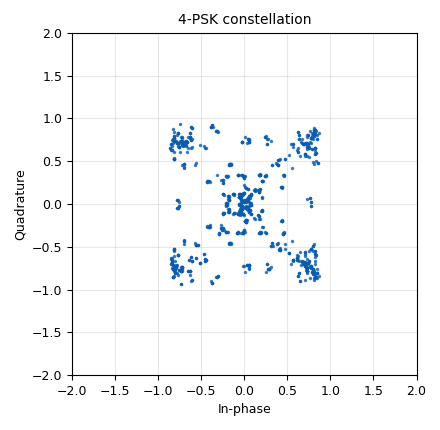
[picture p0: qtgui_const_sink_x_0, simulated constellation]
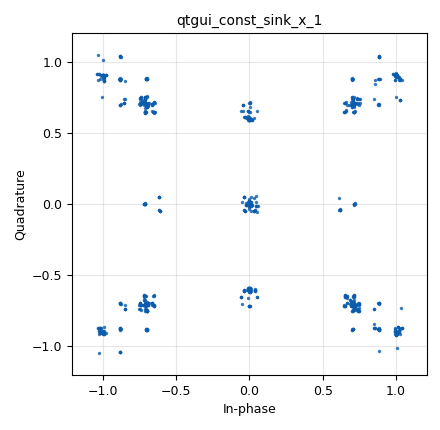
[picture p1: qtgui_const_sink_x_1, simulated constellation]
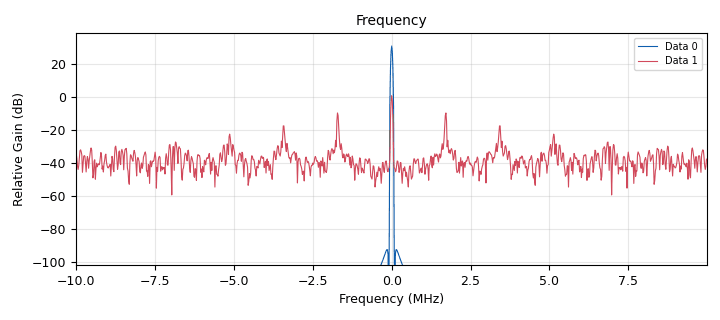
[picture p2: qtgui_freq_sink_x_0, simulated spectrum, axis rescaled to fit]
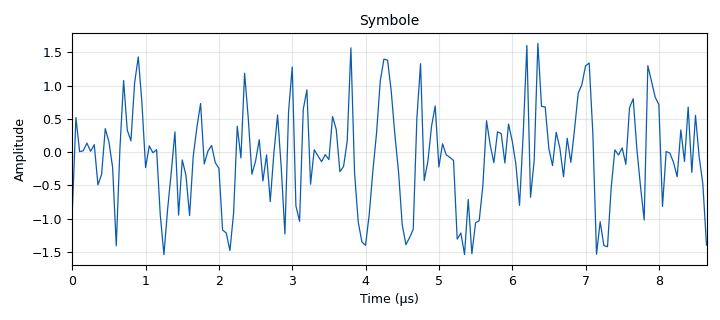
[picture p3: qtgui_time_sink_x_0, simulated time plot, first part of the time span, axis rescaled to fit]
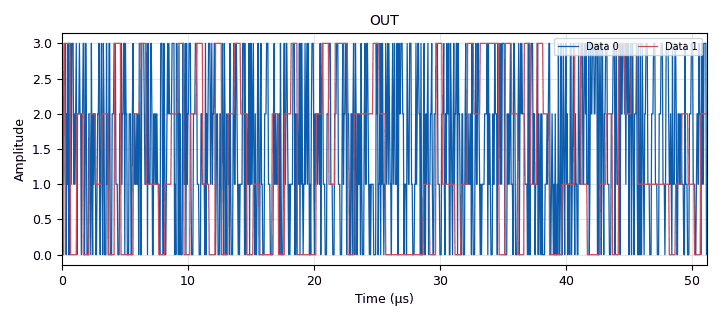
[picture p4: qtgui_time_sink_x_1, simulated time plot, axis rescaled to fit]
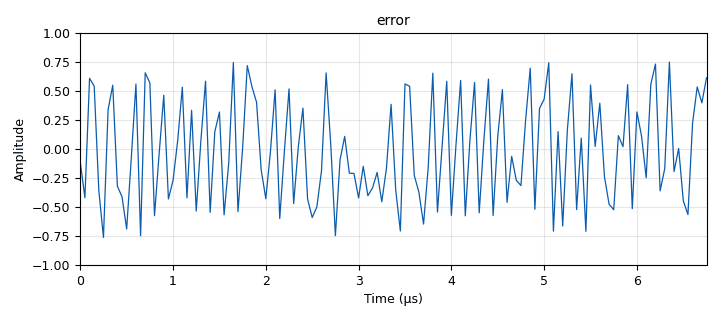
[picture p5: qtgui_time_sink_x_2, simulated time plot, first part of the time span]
<?xml version='1.0' encoding='utf-8'?>
<?grc format='1' created='3.7.13'?>
<flow_graph>
<block>
<key>options</key>
<param><key>id</key><value>top_block</value></param>
<param><key>generate_options</key><value>qt_gui</value></param>
</block>
<block>
<key>variable_qtgui_range</key>
<param><key>id</key><value>Noise</value></param>
<param><key>value</key><value>0.02</value></param>
<param><key>orient</key><value>Qt.Horizontal</value></param>
<param><key>start</key><value>0.01</value></param>
<param><key>step</key><value>0.001</value></param>
<param><key>stop</key><value>0.5</value></param>
</block>
<block>
<key>variable_constellation</key>
<param><key>id</key><value>PSK_4</value></param>
<param><key>type</key><value>qpsk</value></param>
<param><key>precision</key><value>8</value></param>
</block>
<block>
<key>variable_constellation</key>
<param><key>id</key><value>demod</value></param>
<param><key>type</key><value>qpsk</value></param>
<param><key>precision</key><value>8</value></param>
</block>
<block>
<key>variable_qtgui_range</key>
<param><key>id</key><value>epsilon</value></param>
<param><key>value</key><value>1.0001</value></param>
<param><key>orient</key><value>Qt.Horizontal</value></param>
<param><key>start</key><value>1.0001</value></param>
<param><key>step</key><value>0.000001</value></param>
<param><key>stop</key><value>1.005</value></param>
</block>
<block>
<key>variable</key>
<param><key>id</key><value>freq_port</value></param>
<param><key>value</key><value>2e6</value></param>
</block>
<block>
<key>variable</key>
<param><key>id</key><value>nb_period_per_symbol</value></param>
<param><key>value</key><value>1</value></param>
</block>
<block>
<key>variable</key>
<param><key>id</key><value>nb_points_period</value></param>
<param><key>value</key><value>int(samp_rate/freq_port)</value></param>
</block>
<block>
<key>variable</key>
<param><key>id</key><value>samp_rate</value></param>
<param><key>value</key><value>20e6</value></param>
</block>
<block>
<key>variable_qtgui_range</key>
<param><key>id</key><value>sps</value></param>
<param><key>value</key><value>2</value></param>
<param><key>orient</key><value>Qt.Horizontal</value></param>
<param><key>start</key><value>2</value></param>
<param><key>step</key><value>2</value></param>
<param><key>stop</key><value>32</value></param>
</block>
<block>
<key>analog_random_source_x</key>
<param><key>id</key><value>analog_random_source_x_0</value></param>
<param><key>max</key><value>4</value></param>
<param><key>min</key><value>0</value></param>
<param><key>num_samps</key><value>1000</value></param>
<param><key>type</key><value>byte</value></param>
<param><key>repeat</key><value>True</value></param>
</block>
<block>
<key>analog_sig_source_x</key>
<param><key>id</key><value>analog_sig_source_x_0</value></param>
<param><key>amp</key><value>1</value></param>
<param><key>freq</key><value>freq_port</value></param>
<param><key>offset</key><value>0</value></param>
<param><key>type</key><value>float</value></param>
<param><key>samp_rate</key><value>samp_rate</value></param>
<param><key>waveform</key><value>analog.GR_COS_WAVE</value></param>
</block>
<block>
<key>blocks_char_to_float</key>
<param><key>id</key><value>blocks_char_to_float_0</value></param>
<param><key>scale</key><value>1</value></param>
</block>
<block>
<key>blocks_char_to_float</key>
<param><key>id</key><value>blocks_char_to_float_1</value></param>
<param><key>scale</key><value>1</value></param>
</block>
<block>
<key>blocks_complex_to_float</key>
<param><key>id</key><value>blocks_complex_to_float_0</value></param>
</block>
<block>
<key>blocks_float_to_char</key>
<param><key>id</key><value>blocks_float_to_char_0</value></param>
<param><key>scale</key><value>1</value></param>
</block>
<block>
<key>blocks_multiply_xx</key>
<param><key>id</key><value>blocks_multiply_xx_0</value></param>
<param><key>type</key><value>float</value></param>
</block>
<block>
<key>blocks_repeat</key>
<param><key>id</key><value>blocks_repeat_0</value></param>
<param><key>interp</key><value>nb_period_per_symbol*nb_points_period</value></param>
<param><key>type</key><value>float</value></param>
</block>
<block>
<key>blocks_throttle</key>
<param><key>id</key><value>blocks_throttle_0</value></param>
<param><key>samples_per_second</key><value>samp_rate</value></param>
<param><key>type</key><value>byte</value></param>
</block>
<block>
<key>blocks_throttle</key>
<param><key>id</key><value>blocks_throttle_1</value></param>
<param><key>samples_per_second</key><value>samp_rate</value></param>
<param><key>type</key><value>float</value></param>
</block>
<block>
<key>channels_channel_model</key>
<param><key>id</key><value>channels_channel_model_0</value></param>
<param><key>epsilon</key><value>epsilon</value></param>
<param><key>freq_offset</key><value>0.0</value></param>
<param><key>noise_voltage</key><value>Noise</value></param>
<param><key>seed</key><value>0</value></param>
<param><key>taps</key><value>1.0 + 1.0j</value></param>
</block>
<block>
<key>digital_constellation_modulator</key>
<param><key>id</key><value>digital_constellation_modulator_1</value></param>
<param><key>constellation</key><value>PSK_4</value></param>
<param><key>differential</key><value>True</value></param>
<param><key>excess_bw</key><value>0.9</value></param>
<param><key>samples_per_symbol</key><value>sps</value></param>
</block>
<block>
<key>digital_constellation_receiver_cb</key>
<param><key>id</key><value>digital_constellation_receiver_cb_0</value></param>
<param><key>constellation</key><value>demod</value></param>
<param><key>loop_bw</key><value>0.06</value></param>
<param><key>fmax</key><value>100</value></param>
<param><key>fmin</key><value>100</value></param>
<param><key>showports</key><value>True</value></param>
</block>
<block>
<key>qtgui_const_sink_x</key>
<param><key>id</key><value>qtgui_const_sink_x_0</value></param>
<param><key>name</key><value>4-PSK constellation</value></param>
<param><key>size</key><value>1024</value></param>
<param><key>type</key><value>complex</value></param>
</block>
<block>
<key>qtgui_const_sink_x</key>
<param><key>id</key><value>qtgui_const_sink_x_1</value></param>
<param><key>autoscale</key><value>True</value></param>
<param><key>size</key><value>1024</value></param>
<param><key>type</key><value>complex</value></param>
</block>
<block>
<key>qtgui_freq_sink_x</key>
<param><key>id</key><value>qtgui_freq_sink_x_0</value></param>
<param><key>bw</key><value>samp_rate</value></param>
<param><key>fc</key><value>0</value></param>
<param><key>ctrlpanel</key><value>True</value></param>
<param><key>fftsize</key><value>1024</value></param>
<param><key>label2</key><value></value></param>
<param><key>name</key><value>Frequency</value></param>
<param><key>nconnections</key><value>2</value></param>
<param><key>showports</key><value>True</value></param>
<param><key>type</key><value>float</value></param>
<param><key>wintype</key><value>firdes.WIN_BLACKMAN_hARRIS</value></param>
</block>
<block>
<key>qtgui_time_sink_x</key>
<param><key>id</key><value>qtgui_time_sink_x_0</value></param>
<param><key>ctrlpanel</key><value>True</value></param>
<param><key>color1</key><value>"blue"</value></param>
<param><key>label1</key><value></value></param>
<param><key>name</key><value>Symbole</value></param>
<param><key>size</key><value>1024</value></param>
<param><key>srate</key><value>samp_rate</value></param>
<param><key>type</key><value>float</value></param>
</block>
<block>
<key>qtgui_time_sink_x</key>
<param><key>id</key><value>qtgui_time_sink_x_1</value></param>
<param><key>ctrlpanel</key><value>True</value></param>
<param><key>color1</key><value>"blue"</value></param>
<param><key>label1</key><value></value></param>
<param><key>color2</key><value>"red"</value></param>
<param><key>label2</key><value></value></param>
<param><key>name</key><value>OUT</value></param>
<param><key>nconnections</key><value>2</value></param>
<param><key>size</key><value>1024</value></param>
<param><key>srate</key><value>samp_rate</value></param>
<param><key>type</key><value>float</value></param>
</block>
<block>
<key>qtgui_time_sink_x</key>
<param><key>id</key><value>qtgui_time_sink_x_2</value></param>
<param><key>ctrlpanel</key><value>True</value></param>
<param><key>color1</key><value>"blue"</value></param>
<param><key>label1</key><value></value></param>
<param><key>name</key><value>error</value></param>
<param><key>size</key><value>1024</value></param>
<param><key>srate</key><value>samp_rate</value></param>
<param><key>type</key><value>float</value></param>
</block>
<block>
<key>rational_resampler_xxx</key>
<param><key>id</key><value>rational_resampler_xxx_0</value></param>
<param><key>decim</key><value>50</value></param>
<param><key>interp</key><value>nb_period_per_symbol*nb_points_period</value></param>
<param><key>taps</key><value></value></param>
<param><key>type</key><value>ccc</value></param>
</block>
<connection><source_block_id>analog_random_source_x_0</source_block_id><sink_block_id>blocks_throttle_0</sink_block_id><source_key>0</source_key><sink_key>0</sink_key></connection>
<connection><source_block_id>analog_sig_source_x_0</source_block_id><sink_block_id>blocks_throttle_1</sink_block_id><source_key>0</source_key><sink_key>0</sink_key></connection>
<connection><source_block_id>blocks_char_to_float_0</source_block_id><sink_block_id>blocks_repeat_0</sink_block_id><source_key>0</source_key><sink_key>0</sink_key></connection>
<connection><source_block_id>blocks_char_to_float_1</source_block_id><sink_block_id>qtgui_time_sink_x_1</sink_block_id><source_key>0</source_key><sink_key>0</sink_key></connection>
<connection><source_block_id>blocks_complex_to_float_0</source_block_id><sink_block_id>qtgui_time_sink_x_0</sink_block_id><source_key>0</source_key><sink_key>0</sink_key></connection>
<connection><source_block_id>blocks_float_to_char_0</source_block_id><sink_block_id>digital_constellation_modulator_1</sink_block_id><source_key>0</source_key><sink_key>0</sink_key></connection>
<connection><source_block_id>blocks_multiply_xx_0</source_block_id><sink_block_id>blocks_float_to_char_0</sink_block_id><source_key>0</source_key><sink_key>0</sink_key></connection>
<connection><source_block_id>blocks_repeat_0</source_block_id><sink_block_id>blocks_multiply_xx_0</sink_block_id><source_key>0</source_key><sink_key>0</sink_key></connection>
<connection><source_block_id>blocks_repeat_0</source_block_id><sink_block_id>qtgui_time_sink_x_1</sink_block_id><source_key>0</source_key><sink_key>1</sink_key></connection>
<connection><source_block_id>blocks_throttle_0</source_block_id><sink_block_id>blocks_char_to_float_0</sink_block_id><source_key>0</source_key><sink_key>0</sink_key></connection>
<connection><source_block_id>blocks_throttle_1</source_block_id><sink_block_id>blocks_multiply_xx_0</sink_block_id><source_key>0</source_key><sink_key>1</sink_key></connection>
<connection><source_block_id>channels_channel_model_0</source_block_id><sink_block_id>digital_constellation_receiver_cb_0</sink_block_id><source_key>0</source_key><sink_key>0</sink_key></connection>
<connection><source_block_id>digital_constellation_modulator_1</source_block_id><sink_block_id>qtgui_const_sink_x_1</sink_block_id><source_key>0</source_key><sink_key>0</sink_key></connection>
<connection><source_block_id>digital_constellation_modulator_1</source_block_id><sink_block_id>rational_resampler_xxx_0</sink_block_id><source_key>0</source_key><sink_key>0</sink_key></connection>
<connection><source_block_id>digital_constellation_receiver_cb_0</source_block_id><sink_block_id>qtgui_time_sink_x_2</sink_block_id><source_key>1</source_key><sink_key>0</sink_key></connection>
<connection><source_block_id>digital_constellation_receiver_cb_0</source_block_id><sink_block_id>qtgui_freq_sink_x_0</sink_block_id><source_key>3</source_key><sink_key>0</sink_key></connection>
<connection><source_block_id>digital_constellation_receiver_cb_0</source_block_id><sink_block_id>blocks_char_to_float_1</sink_block_id><source_key>0</source_key><sink_key>0</sink_key></connection>
<connection><source_block_id>digital_constellation_receiver_cb_0</source_block_id><sink_block_id>qtgui_freq_sink_x_0</sink_block_id><source_key>2</source_key><sink_key>1</sink_key></connection>
<connection><source_block_id>digital_constellation_receiver_cb_0</source_block_id><sink_block_id>blocks_complex_to_float_0</sink_block_id><source_key>4</source_key><sink_key>0</sink_key></connection>
<connection><source_block_id>rational_resampler_xxx_0</source_block_id><sink_block_id>channels_channel_model_0</sink_block_id><source_key>0</source_key><sink_key>0</sink_key></connection>
<connection><source_block_id>rational_resampler_xxx_0</source_block_id><sink_block_id>qtgui_const_sink_x_0</sink_block_id><source_key>0</source_key><sink_key>0</sink_key></connection>
</flow_graph>
